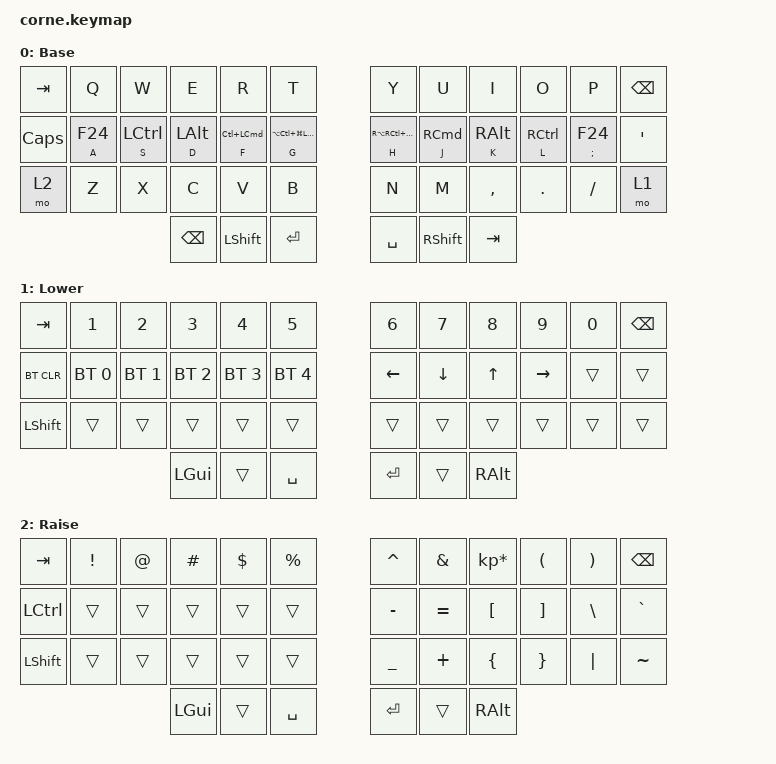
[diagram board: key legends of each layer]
/*
 * Copyright (c) 2020 The ZMK Contributors
 *
 * SPDX-License-Identifier: MIT
 */

#include <behaviors.dtsi>
#include <dt-bindings/zmk/bt.h>
#include <dt-bindings/zmk/keys.h>

&mt {
    flavor = "balanced";
    tapping-term-ms = <280>;
    require-prior-idle-ms = <150>;
    quick-tap-ms = <175>;
};

/ {
    keymap {
        compatible = "zmk,keymap";

        default_layer {
            // -----------------------------------------------------------------------------------------
            // |  TAB |  Q  |  W  |  E  |  R  |  T  |   |  Y  |  U   |  I  |  O  |  P  | BKSP |
            // | CTRL |  A  |  S  |  D  |  F  |  G  |   |  H  |  J   |  K  |  L  |  ;  |  '   |
            // | SHFT |  Z  |  X  |  C  |  V  |  B  |   |  N  |  M   |  ,  |  .  |  /  | ESC  |
            //                    | GUI | LWR | SPC |   | ENT | RSE  | ALT |

            display-name = "Base";
            bindings = <
&kp TAB   &kp Q      &kp W               &kp E           &kp R                   &kp T                           &kp Y                          &kp U                &kp I            &kp O                &kp P         &kp BSPC
&kp CAPS  &mt A F24  &mt S LEFT_CONTROL  &mt D LEFT_ALT  &mt F LC(LEFT_COMMAND)  &mt G LA(LC(LG(LEFT_SHIFT)))    &mt H RA(RC(RG(RIGHT_SHIFT)))  &mt J RIGHT_COMMAND  &mt K RIGHT_ALT  &mt L RIGHT_CONTROL  &mt SEMI F24  &kp SQT
&mo 2     &kp Z      &kp X               &kp C           &kp V                   &kp B                           &kp N                          &kp M                &kp COMMA        &kp DOT              &kp FSLH      &mo 1
                                         &kp BACKSPACE   &kp LEFT_SHIFT          &kp ENTER                       &kp SPACE                      &kp RIGHT_SHIFT      &kp TAB
            >;
        };

        lower_layer {
            // -----------------------------------------------------------------------------------------
            // |  TAB |  1  |  2  |  3  |  4  |  5  |   |  6  |  7  |  8  |  9  |  0  | BKSP |
            // | BTCLR| BT1 | BT2 | BT3 | BT4 | BT5 |   | LFT | DWN |  UP | RGT |     |      |
            // | SHFT |     |     |     |     |     |   |     |     |     |     |     |      |
            //                    | GUI |     | SPC |   | ENT |     | ALT |

            display-name = "Lower";
            bindings = <
&kp TAB     &kp N1        &kp N2        &kp N3        &kp N4        &kp N5          &kp N6    &kp N7    &kp N8    &kp N9     &kp N0  &kp BSPC
&bt BT_CLR  &bt BT_SEL 0  &bt BT_SEL 1  &bt BT_SEL 2  &bt BT_SEL 3  &bt BT_SEL 4    &kp LEFT  &kp DOWN  &kp UP    &kp RIGHT  &trans  &trans
&kp LSHFT   &trans        &trans        &trans        &trans        &trans          &trans    &trans    &trans    &trans     &trans  &trans
                                        &kp LGUI      &trans        &kp SPACE       &kp RET   &trans    &kp RALT
            >;
        };

        raise_layer {
            // -----------------------------------------------------------------------------------------
            // |  TAB |  !  |  @  |  #  |  $  |  %  |   |  ^  |  &  |  *  |  (  |  )  | BKSP |
            // | CTRL |     |     |     |     |     |   |  -  |  =  |  [  |  ]  |  \  |  `   |
            // | SHFT |     |     |     |     |     |   |  _  |  +  |  {  |  }  | "|" |  ~   |
            //                    | GUI |     | SPC |   | ENT |     | ALT |

            display-name = "Raise";
            bindings = <
&kp TAB    &kp EXCL  &kp AT  &kp HASH  &kp DLLR  &kp PRCNT    &kp CARET  &kp AMPS   &kp KP_MULTIPLY  &kp LPAR  &kp RPAR  &kp BSPC
&kp LCTRL  &trans    &trans  &trans    &trans    &trans       &kp MINUS  &kp EQUAL  &kp LBKT         &kp RBKT  &kp BSLH  &kp GRAVE
&kp LSHFT  &trans    &trans  &trans    &trans    &trans       &kp UNDER  &kp PLUS   &kp LBRC         &kp RBRC  &kp PIPE  &kp TILDE
                             &kp LGUI  &trans    &kp SPACE    &kp RET    &trans     &kp RALT
            >;
        };

        extra_1 { status = "reserved"; };

        extra_2 { status = "reserved"; };

        extra_3 { status = "reserved"; };
    };
};
